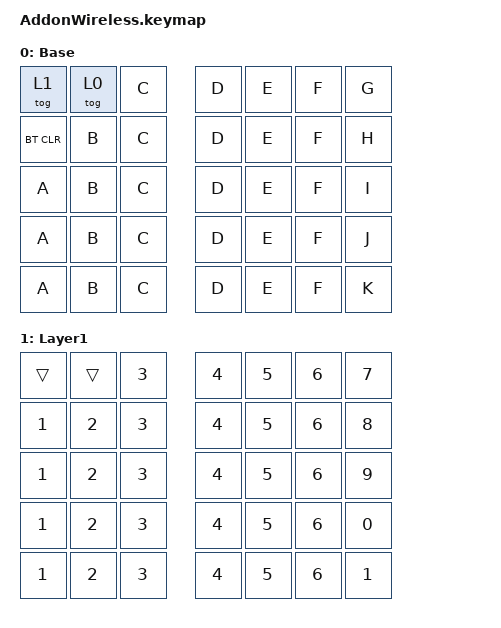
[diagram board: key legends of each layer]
#include <behaviors.dtsi>
#include <dt-bindings/zmk/keys.h>
#include <dt-bindings/zmk/bt.h>

#define BASE 0

/ {
    keymap {
        compatible = "zmk,keymap";

        base {
            display-name = "Base";
            bindings = <
&tog 1      &tog 0  &kp C  &kp D  &kp E  &kp F  &kp G
&bt BT_CLR  &kp B   &kp C  &kp D  &kp E  &kp F  &kp H
&kp A       &kp B   &kp C  &kp D  &kp E  &kp F  &kp I
&kp A       &kp B   &kp C  &kp D  &kp E  &kp F  &kp J
&kp A       &kp B   &kp C  &kp D  &kp E  &kp F  &kp K
            >;
        };

        Layer1 {
            display-name = "Layer1";
            bindings = <
&trans      &trans  &kp N3  &kp N4  &kp N5  &kp N6  &kp N7
&kp N1      &kp N2  &kp N3  &kp N4  &kp N5  &kp N6  &kp N8
&kp N1      &kp N2  &kp N3  &kp N4  &kp N5  &kp N6  &kp N9
&kp N1      &kp N2  &kp N3  &kp N4  &kp N5  &kp N6  &kp N0
&kp N1      &kp N2  &kp N3  &kp N4  &kp N5  &kp N6  &kp N1
            >;
        };

        Layer2 {
            status = "reserved";
        };

        
        Layer3 {
            status = "reserved";
        };
    };
};
